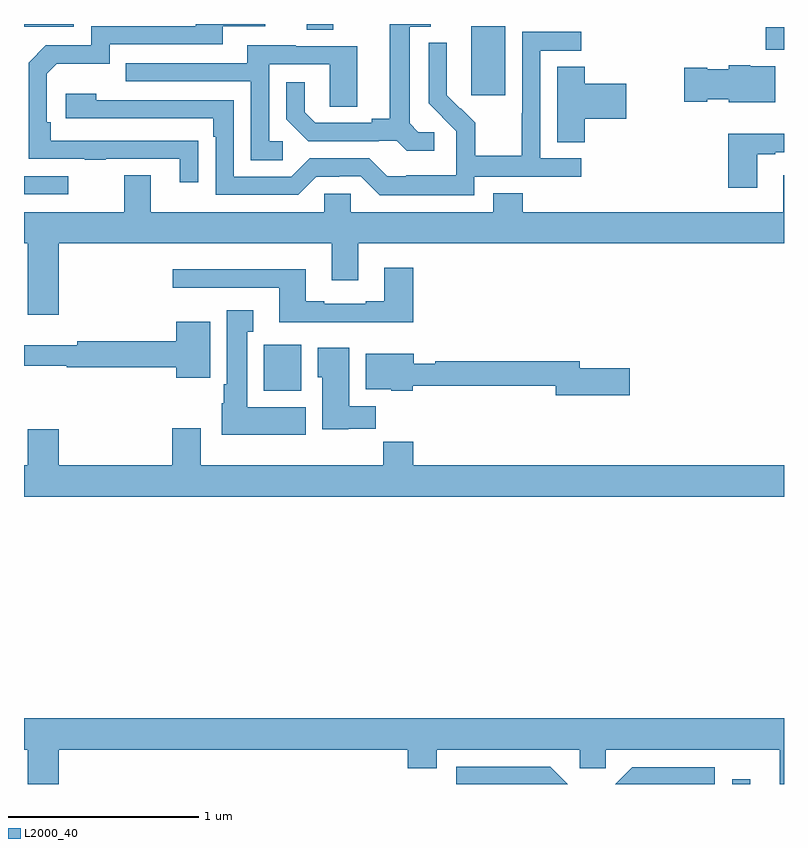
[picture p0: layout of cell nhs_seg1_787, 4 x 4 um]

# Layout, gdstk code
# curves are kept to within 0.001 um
import gdstk
lib = gdstk.Library(unit=1e-6, precision=1e-09)
def R(c, l, rs):  # rectangles x0, y0, x1, y1
    for r in rs: c.add(gdstk.rectangle(r[:2], r[2:], *l))
def P(c, l, *ps):  # polygons
    for p in ps: c.add(gdstk.Polygon(p, *l))
L2000_40 = (2000, 40)

nhs_seg1_787 = lib.new_cell('nhs_seg1_787')
R(nhs_seg1_787, L2000_40, [(156.727,570.199,156.823,570.223), (154.262,572.27,154.459,572.512), (153,573.303,153.232,573.399), (155.354,573.825,155.533,574.186), (156.904,574.064,157,574.183), (154.487,574.168,154.627,574.199), (153,574.185,153.262,574.199)])
P(nhs_seg1_787, L2000_40, [(155.158,573.63),(155.076,573.63),(155.029,573.677),(155.029,574.185),(155.14,574.185),(155.14,574.199),(154.925,574.199),(154.925,573.701),(154.829,573.701),(154.829,573.678),(154.534,573.678),(154.477,573.735),(154.477,573.892),(154.38,573.892),(154.38,573.698),(154.496,573.582),(154.868,573.582),(154.868,573.585),(154.962,573.585),(155.014,573.533),(155.158,573.533)],
  [(153.917,573.584),(153.14,573.585),(153.14,573.682),(153.12,573.682),(153.12,573.936),(153.173,573.989),(153.45,573.989),(153.45,574.092),(154.045,574.092),(154.045,574.188),(154.27,574.188),(154.27,574.199),(153.905,574.199),(153.905,574.188),(153.354,574.188),(153.354,574.086),(153.114,574.086),(153.024,573.996),(153.024,573.489),(153.319,573.489),(153.319,573.484),(153.431,573.484),(153.431,573.489),(153.821,573.489),(153.821,573.366),(153.917,573.366)],
  [(155.37,573.396),(155.932,573.396),(155.932,573.492),(155.718,573.492),(155.718,574.059),(155.932,574.059),(155.932,574.158),(155.622,574.158),(155.622,573.728),(155.62,573.728),(155.62,573.505),(155.375,573.505),(155.375,573.679),(155.298,573.756),(155.295,573.753),(155.225,573.824),(155.226,574.1),(155.13,574.1),(155.13,573.782),(155.276,573.634),(155.276,573.537),(155.274,573.537),(155.274,573.403),(155.011,573.403),(155.011,573.399),(154.911,573.399),(154.818,573.492),(154.503,573.492),(154.407,573.396),(154.104,573.396),(154.104,573.798),(153.38,573.798),(153.38,573.832),(153.219,573.832),(153.219,573.702),(153.995,573.702),(153.995,573.605),(154.008,573.605),(154.008,573.3),(154.443,573.3),(154.539,573.396),(154.658,573.396),(154.658,573.399),(154.773,573.399),(154.873,573.299),(155.37,573.299)],
  [(154.363,573.582),(154.29,573.582),(154.29,573.987),(154.608,573.987),(154.608,573.763),(154.753,573.763),(154.753,574.083),(154.429,574.083),(154.429,574.087),(154.175,574.087),(154.175,573.993),(153.535,573.993),(153.535,573.897),(154.194,573.897),(154.194,573.481),(154.363,573.481)],
  [(156.955,573.976),(156.822,573.976),(156.822,573.982),(156.708,573.982),(156.708,573.961),(156.597,573.961),(156.597,573.969),(156.474,573.969),(156.474,573.791),(156.597,573.791),(156.597,573.803),(156.708,573.803),(156.708,573.788),(156.955,573.788)],
  [(155.951,573.701),(156.169,573.701),(156.169,573.884),(155.951,573.884),(155.951,573.974),(155.807,573.974),(155.807,573.577),(155.951,573.577)],
  [(156.859,573.513),(156.955,573.513),(156.955,573.525),(157,573.525),(157,573.622),(156.707,573.622),(156.707,573.336),(156.859,573.336)],
  [(153.184,573.044),(154.619,573.044),(154.619,572.85),(154.759,572.85),(154.759,573.044),(157,573.044),(157,573.403),(156.995,573.403),(156.995,573.208),(155.624,573.208),(155.624,573.307),(155.471,573.307),(155.471,573.208),(154.719,573.208),(154.719,573.306),(154.581,573.306),(154.581,573.208),(153.667,573.208),(153.667,573.403),(153.527,573.403),(153.527,573.208),(153,573.208),(153,573.044),(153.02,573.044),(153.02,572.67),(153.184,572.67)],
  [(155.048,572.917),(154.895,572.917),(154.895,572.74),(154.799,572.74),(154.799,572.727),(154.579,572.727),(154.579,572.74),(154.483,572.74),(154.483,572.908),(153.783,572.908),(153.783,572.811),(154.343,572.811),(154.343,572.63),(155.048,572.63)],
  [(154.483,572.182),(154.174,572.182),(154.174,572.579),(154.207,572.579),(154.207,572.692),(154.067,572.692),(154.067,572.302),(154.052,572.302),(154.052,572.202),(154.04,572.202),(154.04,572.036),(154.483,572.036)],
  [(153.979,572.632),(153.8,572.632),(153.8,572.528),(153.28,572.528),(153.28,572.509),(153,572.509),(153,572.4),(153.226,572.4),(153.226,572.392),(153.8,572.392),(153.8,572.336),(153.979,572.336)],
  [(154.707,572.07),(154.85,572.07),(154.85,572.188),(154.711,572.188),(154.711,572.494),(154.547,572.494),(154.547,572.34),(154.571,572.34),(154.571,572.066),(154.707,572.066)],
  [(156.187,572.387),(155.926,572.387),(155.926,572.423),(155.164,572.423),(155.164,572.412),(155.05,572.412),(155.05,572.464),(154.799,572.464),(154.799,572.276),(154.932,572.276),(154.932,572.27),(155.046,572.27),(155.046,572.295),(155.798,572.295),(155.798,572.245),(156.187,572.245)],
  [(157,571.876),(155.048,571.876),(155.048,572),(154.891,572),(154.891,571.876),(153.931,571.876),(153.931,572.071),(153.779,572.071),(153.779,571.876),(153.184,571.876),(153.184,572.065),(153.02,572.065),(153.02,571.876),(153,571.876),(153,571.712),(157,571.712)],
  [(153.184,570.38),(155.021,570.38),(155.021,570.281),(155.173,570.281),(155.173,570.38),(155.925,570.38),(155.925,570.282),(156.063,570.282),(156.063,570.38),(156.977,570.38),(156.977,570.199),(157,570.199),(157,570.544),(153,570.544),(153,570.38),(153.02,570.38),(153.02,570.199),(153.184,570.199)],
  [(155.771,570.289),(155.274,570.289),(155.274,570.199),(155.861,570.199)],
  [(156.636,570.288),(156.201,570.288),(156.112,570.199),(156.636,570.199)])

lib.write_gds('nhs_seg1_787.gds')
